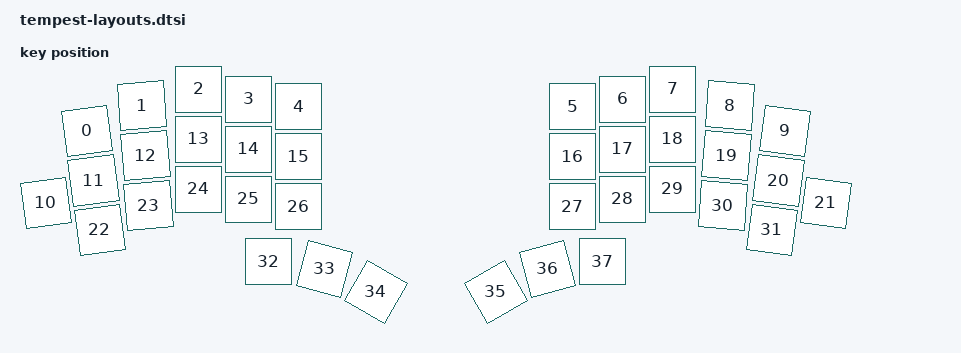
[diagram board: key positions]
#include <physical_layouts.dtsi>

/ {
    default_layout: physical_layout_0 {
        compatible = "zmk,physical-layout";
        display-name = "TEMPEST";
        transform = <&default_transform>;
        keys  //                     w   h    x    y     rot    rx    ry
            = <&key_physical_attrs 100 100   82   84  (-800)   132   134>
            , <&key_physical_attrs 100 100  192   33  (-400)   242    83>
            , <&key_physical_attrs 100 100  306    0       0     0     0>
            , <&key_physical_attrs 100 100  406   20       0     0     0>
            , <&key_physical_attrs 100 100  506   35       0     0     0>
            , <&key_physical_attrs 100 100 1054   35       0     0     0>
            , <&key_physical_attrs 100 100 1154   20       0     0     0>
            , <&key_physical_attrs 100 100 1254    0       0     0     0>
            , <&key_physical_attrs 100 100 1368   33     400  1418    83>
            , <&key_physical_attrs 100 100 1478   84     800  1528   134>
            , <&key_physical_attrs 100 100    0  228  (-800)    50   278>
            , <&key_physical_attrs 100 100   95  183  (-800)   145   233>
            , <&key_physical_attrs 100 100  199  133  (-400)   249   183>
            , <&key_physical_attrs 100 100  306  100       0     0     0>
            , <&key_physical_attrs 100 100  406  120       0     0     0>
            , <&key_physical_attrs 100 100  506  135       0     0     0>
            , <&key_physical_attrs 100 100 1054  135       0     0     0>
            , <&key_physical_attrs 100 100 1154  120       0     0     0>
            , <&key_physical_attrs 100 100 1254  100       0     0     0>
            , <&key_physical_attrs 100 100 1361  133     400  1411   183>
            , <&key_physical_attrs 100 100 1465  183     800  1515   233>
            , <&key_physical_attrs 100 100 1560  228     800  1610   278>
            , <&key_physical_attrs 100 100  108  282  (-800)   158   332>
            , <&key_physical_attrs 100 100  205  233  (-400)   255   282>
            , <&key_physical_attrs 100 100  306  200       0     0     0>
            , <&key_physical_attrs 100 100  406  220       0     0     0>
            , <&key_physical_attrs 100 100  506  235       0     0     0>
            , <&key_physical_attrs 100 100 1054  235       0     0     0>
            , <&key_physical_attrs 100 100 1154  220       0     0     0>
            , <&key_physical_attrs 100 100 1254  200       0     0     0>
            , <&key_physical_attrs 100 100 1354  233     400  1404   282>
            , <&key_physical_attrs 100 100 1452  282     800  1502   332>
            , <&key_physical_attrs 100 100  446  345       0     0     0>
            , <&key_physical_attrs 100 100  557  360    1500   607   410>
            , <&key_physical_attrs 100 100  660  406    3000   710   456>
            , <&key_physical_attrs 100 100  900  406 (-3000)   950   456>
            , <&key_physical_attrs 100 100 1003  360 (-1500)  1053   410>
            , <&key_physical_attrs 100 100 1114  345       0     0     0>
            ;
    };
};
